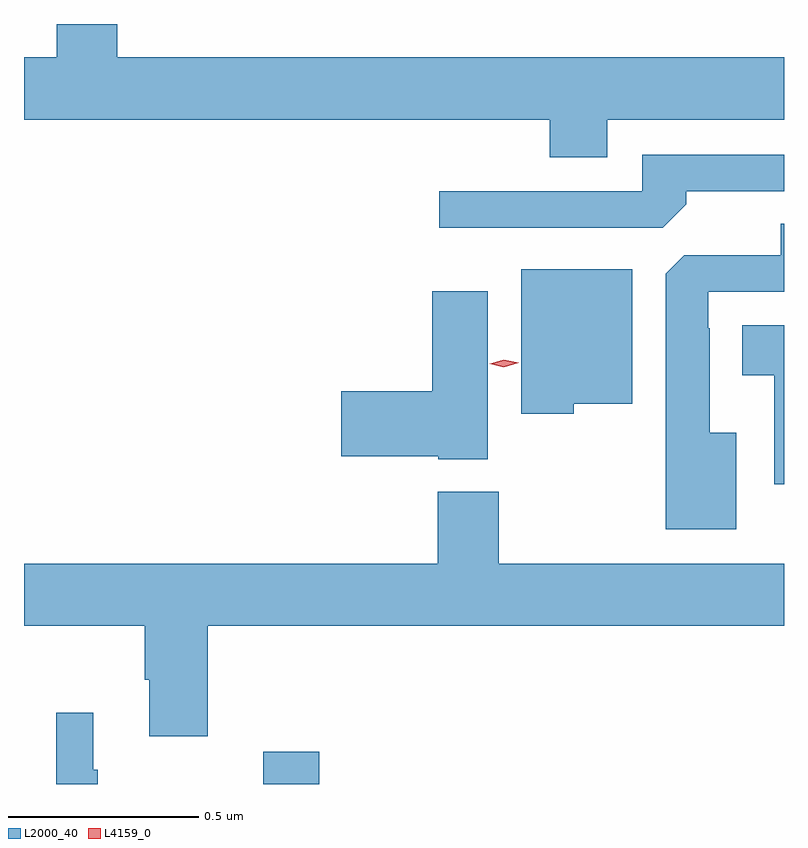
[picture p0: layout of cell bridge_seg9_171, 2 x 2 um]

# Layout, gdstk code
import gdstk
lib = gdstk.Library(unit=1e-6, precision=1e-09)
def R(c, l, rs):  # rectangles x0, y0, x1, y1
    for r in rs: c.add(gdstk.rectangle(r[:2], r[2:], *l))
def P(c, l, *ps):  # polygons
    for p in ps: c.add(gdstk.Polygon(p, *l))
L2000_40 = (2000, 40)
L4159_0 = (4159, 0)

bridge_seg9_171 = lib.new_cell('bridge_seg9_171')
R(bridge_seg9_171, L2000_40, [(215.966,1227.972,216.113,1228.057)])
P(bridge_seg9_171, L2000_40, [(216.871,1229.72),(217.336,1229.72),(217.336,1229.884),(215.582,1229.884),(215.582,1229.972),(215.422,1229.972),(215.422,1229.884),(215.336,1229.884),(215.336,1229.72),(216.719,1229.72),(216.719,1229.621),(216.871,1229.621)],
  [(217.079,1229.498),(217.079,1229.532),(217.336,1229.532),(217.336,1229.628),(216.963,1229.628),(216.963,1229.532),(216.429,1229.532),(216.429,1229.436),(217.017,1229.436)],
  [(217.21,1228.897),(217.141,1228.897),(217.141,1229.171),(217.137,1229.171),(217.137,1229.268),(217.336,1229.268),(217.336,1229.447),(217.328,1229.447),(217.328,1229.364),(217.074,1229.364),(217.025,1229.315),(217.025,1228.643),(217.21,1228.643)],
  [(216.783,1228.973),(216.937,1228.973),(216.937,1229.326),(216.644,1229.326),(216.644,1228.946),(216.783,1228.946)],
  [(216.556,1229.269),(216.41,1229.269),(216.41,1229.006),(216.171,1229.006),(216.171,1228.835),(216.426,1228.835),(216.426,1228.826),(216.556,1228.826)],
  [(217.336,1229.179),(217.226,1229.179),(217.226,1229.048),(217.31,1229.048),(217.31,1228.761),(217.336,1228.761)],
  [(215.819,1228.388),(217.336,1228.388),(217.336,1228.552),(216.585,1228.552),(216.585,1228.741),(216.425,1228.741),(216.425,1228.552),(215.336,1228.552),(215.336,1228.388),(215.654,1228.388),(215.654,1228.246),(215.666,1228.246),(215.666,1228.098),(215.819,1228.098)],
  [(215.53,1228.01),(215.518,1228.01),(215.518,1228.159),(215.421,1228.159),(215.421,1227.972),(215.53,1227.972)])
P(bridge_seg9_171, L4159_0, [(216.599,1229.069),(216.561,1229.078),(216.561,1229.078),(216.561,1229.078),(216.599,1229.089),(216.638,1229.08),(216.638,1229.08),(216.638,1229.08)])

lib.write_gds('bridge_seg9_171.gds')
